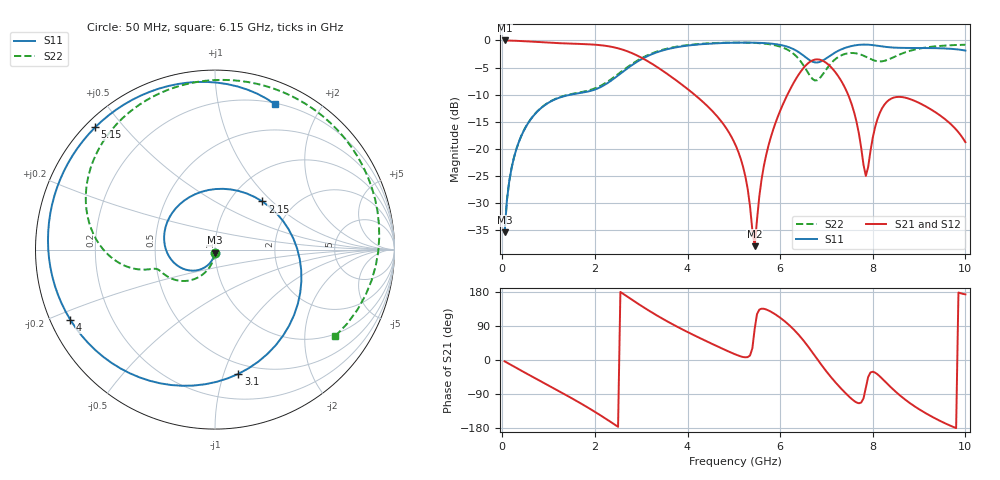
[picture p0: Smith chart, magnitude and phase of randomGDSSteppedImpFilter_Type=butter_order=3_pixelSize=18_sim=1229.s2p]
! freq	dB(S11)	phase(S11)	dB(S12)	phase(S12)
!  dB(S21)	phase(S21)	dB(S22)	phase(S22)
!S-par simulation data
#  GHz  S  DB  R 50
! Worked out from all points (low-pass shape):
!   200 points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, 50 MHz to 10 GHz, reference 50 ohm
!   highest |S21| = -0.01 dB at 50 MHz (marker M1); lowest = -37.9 dB at 5.45 GHz (marker M2)
!   |S21| within 3 dB of the highest: start of sweep to 2.965 GHz
!   lowest |S11| = -35.4 dB at 50 MHz (marker M3), VSWR 1.03, Z = 49.9 - j1.69 ohm
!   |S11| at or under -10 dB: start of sweep to 1.484 GHz
!   |S22| runs from -35.4 to -0.4 dB; largest |S21 - S12| = 0
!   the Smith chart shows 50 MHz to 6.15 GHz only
!   S11 on the Smith chart (normalised r, x): 50 MHz: 1.00, -0.03; 2.15 GHz: 1.40, +0.87; 3.1 GHz: 0.41, -1.12; 4 GHz: 0.06, -0.23; 5.15 GHz: 0.03, +0.42; 6.15 GHz: 0.21, +1.47
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0.05  -35.39 -93.7  -0.01 -3.5  -0.01 -3.5  -35.38 -92.1
0.5  -16.07 -132.3  -0.16 -34.1  -0.16 -34.1  -16.05 -116.8
1.75  -9.61 103.0  -0.67 -118.4  -0.67 -118.4  -9.46 -160.8
2.15  -8.49 45.4  -0.91 -148.3  -0.91 -148.3  -8.25 -163.5
2.65  -5.48 -26.8  -1.85 171.3  -1.85 171.3  -5.25 -172.7
3.1  -3.04 -79.4  -3.63 135.3  -3.63 135.3  -2.88 167.8
3.4  -2.02 -107.9  -5.23 113.1  -5.23 113.1  -1.88 152.2
4  -0.96 -154.1  -8.96 73.8  -8.96 73.8  -0.86 120.2
5.05  -0.42 140.5  -19.57 13.9  -19.57 13.9  -0.39 60.7
5.15  -0.41 134.4  -21.86 9.5  -21.86 9.5  -0.39 54.2
5.45  -0.42 115.7  -37.94 82.1  -37.94 82.1  -0.46 33.4
5.7  -0.51 99.4  -21.05 133.3  -21.05 133.3  -0.63 13.2
6.15  -1.14 67.7  -10.13 96.9  -10.13 96.9  -1.67 -35.9
6.45  -2.45 47.0  -5.68 59.4  -5.68 59.4  -3.95 -89.9
6.7  -3.93 38.2  -3.68 19.5  -3.68 19.5  -7.12 -168.9
7  -3.28 33.4  -4.17 -30.3  -4.17 -30.3  -5.29 79.4
7.35  -1.55 10.9  -7.93 -79.7  -7.93 -79.7  -2.65 0.3
7.8  -0.77 -26.0  -22.94 -101.3  -22.94 -101.3  -2.81 -93.8
8.1  -0.98 -49.6  -14.53 -37.6  -14.53 -37.6  -3.85 -175.9
8.35  -1.26 -66.6  -10.98 -67.1  -10.98 -67.1  -3.47 117.3
9.05  -1.39 -111.5  -11.74 -133.7  -11.74 -133.7  -1.44 15.0
10  -1.88 171.5  -18.76 173.2  -18.76 173.2  -0.80 -48.6
